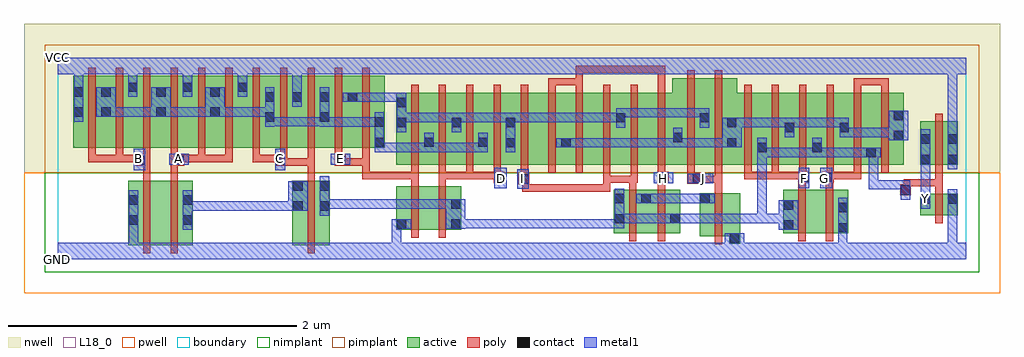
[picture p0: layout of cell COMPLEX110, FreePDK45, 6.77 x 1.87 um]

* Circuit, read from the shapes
.subckt COMPLEX110 A B C D E F G GND H I J VCC Y
M1 n1 B GND VSUBS nfet w=0.45u l=0.05u
M2 n2 A n1 VSUBS nfet w=0.45u l=0.05u
M3 n3 C n2 VSUBS nfet w=0.45u l=0.05u
M4 n4 E GND VSUBS nfet w=0.3u l=0.05u
M5 n3 D n4 VSUBS nfet w=0.3u l=0.05u
M6 n5 I n3 VSUBS nfet w=0.3u l=0.05u
M7 n3 H n5 VSUBS nfet w=0.3u l=0.05u
M8 GND J n5 VSUBS nfet w=0.3u l=0.05u
M9 n6 F n3 VSUBS nfet w=0.3u l=0.05u
M10 GND G n6 VSUBS nfet w=0.3u l=0.05u
M11 GND n3 Y VSUBS nfet w=0.15u l=0.05u
M12 n7 B VCC n8 pfet w=0.5u l=0.05u m=3
M13 VCC A n7 n8 pfet w=0.5u l=0.05u m=3
M14 n7 C VCC n8 pfet w=0.5u l=0.05u m=3
M15 n9 E n7 n8 pfet w=0.5u l=0.05u m=3
M16 n9 D n7 n8 pfet w=0.5u l=0.05u m=3
M17 n10 I n9 n8 pfet w=0.5u l=0.05u
M18 n11 H n10 n8 pfet w=0.5u l=0.05u
M19 n12 H n11 n8 pfet w=0.5u l=0.05u
M20 n9 I n12 n8 pfet w=0.5u l=0.05u
M21 n13 I n9 n8 pfet w=0.5u l=0.05u
M22 n11 H n13 n8 pfet w=0.5u l=0.05u
M23 n9 J n11 n8 pfet w=0.6u l=0.05u m=2
M24 n3 F n11 n8 pfet w=0.5u l=0.05u m=3
M25 n11 G n3 n8 pfet w=0.5u l=0.05u m=3
M26 VCC n3 Y n8 pfet w=0.3u l=0.05u
.ends

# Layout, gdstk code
import gdstk
lib = gdstk.Library(unit=1e-6, precision=1e-09)
def R(c, l, rs):  # rectangles x0, y0, x1, y1
    for r in rs: c.add(gdstk.rectangle(r[:2], r[2:], *l))
def A(c, l, x, y, w, h, nx, ny, dx, dy):  # array of equal rectangles
    R(c, l, [(x+i*dx, y+j*dy, x+i*dx+w, y+j*dy+h) for i in range(nx) for j in range(ny)])
active = (1, 0)
pwell = (2, 0)
nwell = (3, 0)
nimplant = (4, 0)
pimplant = (5, 0)
poly = (9, 0)
contact = (10, 0)
metal1 = (11, 0)
L18_0 = (18, 0)
boundary = (235, 0)

complex110 = lib.new_cell('COMPLEX110')
A(complex110, active, 4.847, 0.657, 0.265, 0.5, 3, 1, 0.19, 0)
A(complex110, active, 0.862, 0.775, 0.265, 0.5, 5, 1, 0.19, 0)
A(complex110, active, 0.482, 0.807, 0.075, 0.468, 4, 1, 0.38, 0)
R(complex110, active, [(0.487,0.097,0.562,0.547), (0.487,0.097,0.712,0.547), (0.712,0.097,0.937,0.547), (0.862,0.097,0.937,0.547), (1.627,0.097,1.702,0.547), (1.627,0.097,1.887,0.547), (1.812,0.097,1.887,0.547), (4.657,0.11,4.732,0.46), (4.452,0.16,4.732,0.46), (3.857,0.182,4.117,0.482), (4.042,0.182,4.317,0.482), (5.032,0.182,5.257,0.482), (5.257,0.182,5.482,0.482), (5.407,0.182,5.482,0.482), (3.857,0.2,3.932,0.482), (4.242,0.2,4.317,0.482), (5.032,0.2,5.107,0.482), (2.347,0.207,2.422,0.507), (2.347,0.207,2.572,0.507), (2.572,0.207,2.797,0.507), (2.722,0.207,2.797,0.507), (4.042,0.247,4.117,0.46), (4.452,0.247,4.527,0.46), (5.982,0.307,6.057,0.457), (5.982,0.307,6.242,0.457), (6.167,0.307,6.242,0.457), (2.347,0.657,2.422,1.157), (2.347,0.657,2.612,1.157), (2.537,0.657,2.802,1.157), (2.537,0.657,2.612,1.07), (2.727,0.657,2.987,1.157), (2.912,0.657,3.177,1.157), (3.102,0.657,3.332,1.157), (3.332,0.657,3.562,1.157), (3.487,0.657,3.712,1.157), (3.712,0.657,3.942,1.157), (3.867,0.657,4.092,1.157), (4.092,0.657,4.337,1.157), (4.262,0.657,4.522,1.257), (4.447,0.657,4.712,1.257), (4.637,0.657,4.922,1.157), (4.637,0.657,4.712,1.2), (4.847,0.657,4.922,1.07), (5.417,0.657,5.677,1.157), (5.602,0.657,5.867,1.157), (5.602,0.657,5.677,1.07), (5.792,0.657,5.867,1.157), (5.982,0.657,6.057,0.957), (5.982,0.657,6.242,0.957), (6.167,0.657,6.242,0.957), (2.912,0.66,2.987,1.07), (3.102,0.66,3.177,1.157), (3.487,0.66,3.562,1.07), (5.227,0.66,5.302,1.07), (3.867,0.675,3.942,1.157), (4.447,0.707,4.522,1.2), (2.727,0.762,2.802,1.157), (4.262,0.762,4.337,1.07), (5.037,0.762,5.112,1.157), (0.107,0.775,0.182,1.275), (0.107,0.775,0.372,1.275), (0.297,0.775,0.557,1.275), (0.482,0.775,0.752,1.275), (0.677,0.775,0.937,1.275), (1.432,0.775,1.507,1.2), (1.812,0.775,2.082,1.275), (2.007,0.775,2.267,1.275), (2.192,0.775,2.267,1.07), (0.297,0.807,0.372,1.2), (0.677,0.807,0.752,1.2), (1.052,0.807,1.127,1.2), (1.812,0.807,1.887,1.2), (2.007,0.807,2.082,1.2), (5.417,0.807,5.492,1.157)])
R(complex110, pwell, [(-0.235,-0.235,6.535,0.602)])
R(complex110, nwell, [(-0.235,0.602,6.535,1.635)])
R(complex110, nimplant, [(-0.09,-0.09,6.39,0.602)])
R(complex110, pimplant, [(-0.09,0.602,6.39,1.49)])
A(complex110, poly, 2.452, 0.557, 0.05, 0.095, 4, 1, 0.19, 0)
A(complex110, poly, 2.642, 0.557, 0.05, 0.05, 3, 1, 0.19, 0)
A(complex110, poly, 4.762, 0.557, 0.05, 0.095, 5, 1, 0.19, 0)
A(complex110, poly, 2.452, 0.602, 0.05, 0.61, 10, 1, 0.19, 0)
A(complex110, poly, 4.762, 0.602, 0.05, 0.61, 6, 1, 0.19, 0)
A(complex110, poly, 0.212, 0.675, 0.05, 0.095, 8, 1, 0.19, 0)
A(complex110, poly, 0.212, 0.72, 0.05, 0.61, 11, 1, 0.19, 0)
R(complex110, poly, [(0.592,0.042,0.642,0.602), (0.782,0.042,0.832,0.602), (1.732,0.042,1.782,0.602), (4.557,0.105,4.607,0.515), (3.962,0.127,4.012,0.537), (4.162,0.127,4.212,0.537), (5.137,0.127,5.187,0.537), (5.327,0.127,5.377,0.537), (2.452,0.152,2.502,0.562), (2.642,0.152,2.692,0.562), (6.087,0.252,6.137,0.512), (5.842,0.445,5.917,0.52), (6.087,0.462,6.137,0.557), (4.557,0.465,4.607,0.582), (3.22,0.47,3.402,0.52), (3.22,0.47,3.27,0.57), (3.352,0.47,3.402,0.52), (3.352,0.47,3.402,0.52), (3.352,0.47,3.402,0.52), (3.352,0.47,3.7,0.52), (3.65,0.47,3.7,0.52), (3.65,0.47,3.832,0.52), (3.782,0.47,3.832,0.582), (5.867,0.47,5.917,0.52), (5.867,0.47,5.917,0.557), (3.962,0.487,4.012,0.582), (4.162,0.487,4.212,0.582), (5.137,0.487,5.187,0.582), (5.327,0.487,5.377,0.582), (5.867,0.507,6.137,0.557), (6.087,0.507,6.137,0.652), (6.087,0.507,6.137,0.557), (6.087,0.507,6.137,0.557), (6.087,0.507,6.137,0.557), (2.452,0.512,2.502,0.607), (2.642,0.512,2.692,0.607), (3.195,0.52,3.27,0.595), (3.22,0.52,3.27,0.57), (4.367,0.525,4.475,0.6), (3.022,0.532,3.097,0.607), (3.782,0.532,3.832,0.582), (3.782,0.532,3.832,0.582), (3.782,0.532,3.832,0.652), (3.782,0.532,4.012,0.582), (3.962,0.532,4.012,0.582), (3.962,0.532,4.012,0.582), (3.962,0.532,4.022,0.582), (3.972,0.532,4.022,0.652), (4.162,0.532,4.237,0.607), (4.425,0.532,4.607,0.582), (4.557,0.532,4.607,0.582), (4.557,0.532,4.607,0.582), (4.557,0.532,4.607,0.582), (4.557,0.532,4.607,0.652), (5.135,0.532,5.21,0.607), (5.3,0.532,5.382,0.607), (3.212,0.545,3.262,0.652), (4.367,0.55,4.417,0.652), (0.592,0.552,0.642,0.7), (0.782,0.552,0.832,0.7), (1.732,0.552,1.782,0.7), (2.112,0.557,2.162,0.607), (2.112,0.557,2.162,0.607), (2.112,0.557,2.502,0.607), (2.112,0.557,2.162,0.7), (2.452,0.557,2.502,0.607), (2.452,0.557,2.502,0.607), (2.452,0.557,2.502,0.607), (2.642,0.557,2.692,0.607), (2.642,0.557,2.692,0.607), (2.642,0.557,2.882,0.607), (2.832,0.557,3.072,0.607), (3.022,0.557,3.072,0.607), (4.162,0.557,4.212,0.652), (4.762,0.557,4.812,0.607), (4.762,0.557,4.812,0.607), (4.762,0.557,4.812,0.607), (4.762,0.557,5.002,0.607), (4.952,0.557,5.002,0.607), (4.952,0.557,5.002,0.607), (4.952,0.557,5.002,0.607), (4.952,0.557,5.185,0.607), (5.332,0.557,5.572,0.607), (5.522,0.557,5.572,0.607), (5.522,0.557,5.572,0.607), (5.522,0.557,5.572,0.607), (4.367,0.602,4.417,1.312), (4.557,0.602,4.607,1.312), (6.087,0.602,6.137,1.012), (0.535,0.65,0.642,0.725), (0.782,0.65,0.877,0.725), (1.507,0.65,1.592,0.725), (1.542,0.65,1.782,0.7), (1.732,0.65,1.782,0.7), (1.732,0.65,1.782,0.7), (1.732,0.65,1.782,0.7), (1.732,0.65,1.782,0.77), (1.922,0.65,1.997,0.725), (1.947,0.65,1.997,0.7), (1.947,0.65,1.997,0.7), (1.947,0.65,2.162,0.7), (2.112,0.65,2.162,0.77), (0.212,0.675,0.262,0.725), (0.212,0.675,0.262,0.725), (0.212,0.675,0.262,0.725), (0.212,0.675,0.452,0.725), (0.402,0.675,0.452,0.725), (0.402,0.675,0.585,0.725), (0.535,0.675,0.585,0.725), (0.535,0.675,0.585,0.725), (0.827,0.675,0.877,0.725), (0.827,0.675,0.877,0.725), (0.827,0.675,1.022,0.725), (0.972,0.675,1.022,0.725), (0.972,0.675,1.212,0.725), (1.162,0.675,1.212,0.725), (1.162,0.675,1.212,0.725), (1.162,0.675,1.212,0.725), (1.352,0.675,1.402,0.725), (1.352,0.675,1.402,0.725), (1.352,0.675,1.402,0.725), (1.352,0.675,1.557,0.725), (1.922,0.675,1.972,0.77), (3.402,1.162,3.452,1.257), (3.592,1.162,3.642,1.257), (4.162,1.162,4.212,1.345), (5.522,1.162,5.572,1.257), (5.712,1.162,5.762,1.257), (3.402,1.207,3.452,1.257), (3.402,1.207,3.452,1.257), (3.402,1.207,3.452,1.257), (3.402,1.207,3.642,1.257), (3.592,1.207,3.642,1.345), (5.522,1.207,5.572,1.257), (5.522,1.207,5.762,1.257), (5.712,1.207,5.762,1.257), (5.712,1.207,5.762,1.257), (5.712,1.207,5.762,1.257), (3.592,1.295,3.642,1.345), (3.592,1.295,3.642,1.345), (3.592,1.295,3.832,1.345), (3.782,1.295,3.832,1.345), (3.782,1.295,3.965,1.345), (3.915,1.295,3.965,1.345), (3.915,1.295,3.965,1.345), (3.915,1.295,3.965,1.345), (3.915,1.295,4.212,1.345), (4.162,1.295,4.212,1.345), (4.162,1.295,4.212,1.345), (4.162,1.295,4.212,1.345)])
A(complex110, contact, 1.437, 1.095, 0.065, 0.065, 3, 1, 0.19, 0)
A(complex110, contact, 0.487, 1.162, 0.065, 0.065, 3, 1, 0.38, 0)
R(complex110, contact, [(4.662,0.115,4.727,0.18), (5.412,0.187,5.477,0.252), (5.037,0.205,5.102,0.27), (2.352,0.212,2.417,0.277), (2.727,0.212,2.792,0.277), (0.492,0.24,0.557,0.305), (0.867,0.24,0.932,0.305), (3.862,0.25,3.927,0.315), (4.247,0.252,4.312,0.317), (5.412,0.327,5.477,0.392), (1.632,0.337,1.697,0.402), (1.817,0.337,1.882,0.402), (5.037,0.345,5.102,0.41), (2.727,0.352,2.792,0.417), (0.492,0.38,0.557,0.445), (0.867,0.38,0.932,0.445), (5.987,0.387,6.052,0.452), (6.172,0.387,6.237,0.452), (3.862,0.39,3.927,0.455), (4.047,0.39,4.112,0.455), (4.457,0.39,4.522,0.455), (5.847,0.45,5.912,0.515), (1.632,0.477,1.697,0.542), (1.817,0.477,1.882,0.542), (3.2,0.525,3.265,0.59), (4.405,0.53,4.47,0.595), (3.027,0.537,3.092,0.602), (4.167,0.537,4.232,0.602), (5.14,0.537,5.205,0.602), (5.305,0.537,5.37,0.602), (0.54,0.655,0.605,0.72), (0.807,0.655,0.872,0.72), (1.512,0.655,1.577,0.72), (1.927,0.655,1.992,0.72), (5.987,0.662,6.052,0.727), (6.172,0.662,6.237,0.727), (5.607,0.71,5.672,0.775), (4.852,0.745,4.917,0.81), (5.232,0.745,5.297,0.81), (3.107,0.777,3.172,0.842), (3.492,0.777,3.557,0.842), (4.642,0.777,4.707,0.842), (2.197,0.78,2.262,0.845), (2.542,0.78,2.607,0.845), (2.917,0.78,2.982,0.845), (5.987,0.802,6.052,0.867), (6.172,0.802,6.237,0.867), (4.267,0.812,4.332,0.877), (5.797,0.827,5.862,0.892), (5.042,0.882,5.107,0.947), (5.422,0.882,5.487,0.947), (2.352,0.917,2.417,0.982), (2.732,0.917,2.797,0.982), (3.107,0.917,3.172,0.982), (4.642,0.917,4.707,0.982), (2.197,0.92,2.262,0.985), (3.872,0.95,3.937,1.015), (4.452,0.95,4.517,1.015), (1.437,0.955,1.502,1.02), (1.817,0.955,1.882,1.02), (5.797,0.967,5.862,1.032), (0.112,0.99,0.177,1.055), (0.302,0.99,0.367,1.055), (0.682,0.99,0.747,1.055), (1.057,0.99,1.122,1.055), (2.352,1.057,2.417,1.122), (2.012,1.092,2.077,1.157), (0.112,1.13,0.177,1.195), (0.302,1.13,0.367,1.195), (0.682,1.13,0.747,1.195), (1.057,1.13,1.122,1.195)])
A(complex110, metal1, 0.487, 1.127, 0.065, 0.135, 3, 1, 0.38, 0)
A(complex110, metal1, 0.487, 1.197, 0.065, 0.153, 3, 1, 0.38, 0)
R(complex110, metal1, [(0,0,6.3,0.115), (0.492,0.05,0.557,0.27), (2.317,0.05,2.382,0.115), (2.317,0.05,2.382,0.115), (2.317,0.05,2.382,0.277), (4.697,0.05,4.762,0.115), (4.697,0.05,4.762,0.115), (4.697,0.05,4.762,0.18), (5.412,0.05,5.477,0.115), (5.412,0.05,5.477,0.115), (5.412,0.05,5.477,0.217), (6.172,0.05,6.237,0.115), (6.172,0.05,6.237,0.115), (6.172,0.05,6.237,0.417), (4.627,0.115,4.762,0.18), (5.412,0.152,5.477,0.427), (0.492,0.205,0.557,0.48), (0.867,0.205,0.932,0.48), (5.002,0.205,5.137,0.41), (2.317,0.212,2.452,0.277), (2.692,0.212,2.827,0.417), (2.762,0.215,2.827,0.28), (2.762,0.215,2.827,0.28), (2.762,0.215,2.965,0.28), (2.9,0.215,2.965,0.28), (2.9,0.215,3.115,0.28), (3.05,0.215,3.115,0.28), (3.05,0.215,3.115,0.28), (3.05,0.215,3.115,0.28), (3.05,0.215,3.31,0.28), (3.245,0.215,3.31,0.28), (3.245,0.215,3.31,0.28), (3.245,0.215,3.31,0.28), (3.245,0.215,3.455,0.28), (3.39,0.215,3.455,0.28), (3.39,0.215,3.455,0.28), (3.39,0.215,3.455,0.28), (3.39,0.215,3.592,0.28), (3.527,0.215,3.592,0.28), (3.527,0.215,3.73,0.28), (3.665,0.215,3.73,0.28), (3.665,0.215,3.73,0.28), (3.665,0.215,3.73,0.28), (3.665,0.215,3.927,0.28), (3.862,0.215,3.927,0.49), (3.862,0.252,3.927,0.317), (3.862,0.252,3.927,0.317), (3.862,0.252,4.14,0.317), (4.075,0.252,4.14,0.317), (4.075,0.252,4.14,0.317), (4.075,0.252,4.14,0.317), (4.075,0.252,4.277,0.317), (4.212,0.252,4.347,0.317), (4.282,0.252,4.347,0.317), (4.282,0.252,4.347,0.317), (4.282,0.252,4.51,0.317), (4.445,0.252,4.51,0.317), (4.445,0.252,4.51,0.317), (4.445,0.252,4.51,0.317), (4.445,0.252,4.75,0.317), (4.685,0.252,4.75,0.317), (4.685,0.252,4.917,0.317), (4.852,0.252,4.917,0.317), (4.852,0.252,4.917,0.317), (4.852,0.252,4.917,0.317), (4.852,0.252,5.067,0.317), (4.852,0.252,4.917,0.637), (5.002,0.252,5.067,0.317), (5.002,0.252,5.067,0.317), (1.817,0.302,1.882,0.577), (0.867,0.337,1.157,0.402), (1.092,0.337,1.157,0.402), (1.092,0.337,1.157,0.402), (1.092,0.337,1.157,0.402), (1.092,0.337,1.295,0.402), (1.23,0.337,1.295,0.402), (1.23,0.337,1.295,0.402), (1.23,0.337,1.295,0.402), (1.23,0.337,1.435,0.402), (1.37,0.337,1.435,0.402), (1.37,0.337,1.435,0.402), (1.37,0.337,1.435,0.402), (1.37,0.337,1.607,0.402), (1.542,0.337,1.607,0.402), (1.542,0.337,1.662,0.402), (1.597,0.337,1.732,0.542), (1.817,0.352,1.882,0.417), (1.817,0.352,1.882,0.417), (1.817,0.352,2.02,0.417), (1.955,0.352,2.02,0.417), (1.955,0.352,2.02,0.417), (1.955,0.352,2.02,0.417), (1.955,0.352,2.25,0.417), (2.185,0.352,2.25,0.417), (2.185,0.352,2.47,0.417), (2.405,0.352,2.47,0.417), (2.405,0.352,2.47,0.417), (2.405,0.352,2.47,0.417), (2.405,0.352,2.607,0.417), (2.542,0.352,2.607,0.417), (2.542,0.352,2.607,0.417), (2.542,0.352,2.607,0.417), (2.542,0.352,2.757,0.417), (5.987,0.352,6.052,0.487), (6.172,0.352,6.237,0.417), (6.172,0.352,6.237,0.417), (6.172,0.352,6.237,0.487), (4.012,0.39,4.147,0.455), (4.082,0.39,4.147,0.455), (4.082,0.39,4.147,0.455), (4.082,0.39,4.285,0.455), (4.22,0.39,4.285,0.455), (4.22,0.39,4.285,0.455), (4.22,0.39,4.285,0.455), (4.22,0.39,4.487,0.455), (4.422,0.39,4.557,0.455), (5.847,0.415,5.912,0.55), (5.987,0.422,6.052,0.692), (5.625,0.485,5.69,0.55), (5.625,0.485,5.912,0.55), (5.625,0.485,5.69,0.775), (3.187,0.49,3.265,0.627), (3.027,0.492,3.112,0.637), (5.14,0.492,5.212,0.637), (5.287,0.492,5.37,0.637), (4.132,0.527,4.267,0.605), (4.37,0.527,4.547,0.595), (4.852,0.572,4.917,0.637), (4.852,0.572,4.917,0.775), (0.527,0.62,0.605,0.767), (1.507,0.62,1.577,0.767), (5.987,0.627,6.052,0.692), (5.987,0.627,6.052,0.692), (5.987,0.627,6.052,0.692), (5.987,0.627,6.052,0.692), (5.987,0.627,6.052,0.902), (6.172,0.627,6.237,0.902), (0.772,0.655,0.907,0.732), (1.892,0.655,2.027,0.732), (4.852,0.71,4.917,0.775), (4.852,0.71,4.917,0.775), (4.852,0.71,4.917,0.845), (4.852,0.71,5.055,0.775), (4.99,0.71,5.055,0.775), (4.99,0.71,5.055,0.775), (4.99,0.71,5.055,0.775), (4.99,0.71,5.205,0.775), (5.14,0.71,5.205,0.775), (5.14,0.71,5.297,0.775), (5.232,0.71,5.297,0.845), (5.232,0.71,5.5,0.775), (5.435,0.71,5.5,0.775), (5.435,0.71,5.5,0.775), (5.435,0.71,5.5,0.775), (5.435,0.71,5.637,0.775), (5.572,0.71,5.637,0.775), (5.572,0.71,5.637,0.775), (5.572,0.71,5.707,0.775), (3.107,0.742,3.172,1.017), (2.197,0.745,2.262,1.02), (2.197,0.745,2.4,0.81), (2.335,0.745,2.4,0.81), (2.335,0.745,2.4,0.81), (2.335,0.745,2.4,0.81), (2.335,0.745,2.607,0.81), (2.542,0.745,2.607,0.81), (2.542,0.745,2.607,0.81), (2.542,0.745,2.607,0.88), (2.542,0.745,2.827,0.81), (2.762,0.745,2.827,0.81), (2.762,0.745,2.827,0.81), (2.762,0.745,2.827,0.81), (2.762,0.745,2.982,0.81), (2.917,0.745,2.982,0.88), (3.457,0.777,3.592,0.842), (3.527,0.777,3.592,0.842), (3.527,0.777,3.592,0.842), (3.527,0.777,3.79,0.842), (3.725,0.777,3.79,0.842), (3.725,0.777,3.79,0.842), (3.725,0.777,3.79,0.842), (3.725,0.777,3.927,0.842), (3.862,0.777,3.927,0.842), (3.862,0.777,3.927,0.842), (3.862,0.777,3.927,0.842), (3.862,0.777,4.14,0.842), (4.075,0.777,4.14,0.842), (4.075,0.777,4.14,0.842), (4.075,0.777,4.14,0.842), (4.075,0.777,4.332,0.842), (4.267,0.777,4.332,0.842), (4.267,0.777,4.332,0.842), (4.267,0.777,4.332,0.912), (4.267,0.777,4.535,0.842), (4.47,0.777,4.535,0.842), (4.47,0.777,4.535,0.842), (4.47,0.777,4.535,0.842), (4.47,0.777,4.672,0.842), (4.607,0.777,4.742,0.982), (5.762,0.827,5.897,1.032), (6.172,0.837,6.237,1.35), (5.042,0.847,5.107,0.982), (5.422,0.847,5.487,0.982), (5.422,0.847,5.637,0.912), (5.572,0.847,5.637,0.912), (5.572,0.847,5.637,0.912), (5.572,0.847,5.637,0.912), (5.572,0.847,5.827,0.912), (5.762,0.847,5.827,0.912), (5.762,0.847,5.827,0.912), (2.352,0.882,2.417,1.157), (2.732,0.882,2.797,1.017), (3.872,0.915,3.937,1.05), (4.452,0.915,4.517,1.05), (4.677,0.917,4.887,0.982), (4.822,0.917,4.887,0.982), (4.822,0.917,4.887,0.982), (4.822,0.917,4.887,0.982), (4.822,0.917,5.055,0.982), (4.99,0.917,5.055,0.982), (4.99,0.917,5.107,0.982), (5.042,0.917,5.205,0.982), (5.14,0.917,5.205,0.982), (5.14,0.917,5.34,0.982), (5.275,0.917,5.34,0.982), (5.275,0.917,5.487,0.982), (5.422,0.917,5.487,0.982), (5.422,0.917,5.487,0.982), (1.437,0.92,1.502,1.195), (1.817,0.92,1.882,0.985), (1.817,0.92,1.882,0.985), (1.817,0.92,1.882,1.195), (1.817,0.92,2.112,0.985), (2.047,0.92,2.112,0.985), (2.047,0.92,2.112,0.985), (2.047,0.92,2.112,0.985), (2.047,0.92,2.262,0.985), (1.437,0.922,1.607,0.987), (1.542,0.922,1.607,0.987), (1.542,0.922,1.745,0.987), (1.68,0.922,1.745,0.987), (1.68,0.922,1.745,0.987), (1.68,0.922,1.745,0.987), (1.68,0.922,1.882,0.987), (2.352,0.952,2.417,1.017), (2.352,0.952,2.417,1.017), (2.352,0.952,2.607,1.017), (2.542,0.952,2.607,1.017), (2.542,0.952,2.607,1.017), (2.542,0.952,2.607,1.017), (2.542,0.952,2.797,1.017), (2.732,0.952,2.797,1.017), (2.732,0.952,2.797,1.017), (2.732,0.952,2.977,1.017), (2.912,0.952,2.977,1.017), (2.912,0.952,2.977,1.017), (2.912,0.952,2.977,1.017), (2.912,0.952,3.172,1.017), (3.107,0.952,3.31,1.017), (3.245,0.952,3.31,1.017), (3.245,0.952,3.31,1.017), (3.245,0.952,3.31,1.017), (3.245,0.952,3.447,1.017), (3.382,0.952,3.447,1.017), (3.382,0.952,3.447,1.017), (3.382,0.952,3.447,1.017), (3.382,0.952,3.592,1.017), (3.527,0.952,3.592,1.017), (3.527,0.952,3.73,1.017), (3.665,0.952,3.73,1.017), (3.665,0.952,3.73,1.017), (3.665,0.952,3.73,1.017), (3.665,0.952,3.937,1.017), (0.112,0.955,0.177,1.23), (3.872,0.985,3.937,1.05), (3.872,0.985,3.937,1.05), (3.872,0.985,4.14,1.05), (4.075,0.985,4.14,1.05), (4.075,0.985,4.14,1.05), (4.075,0.985,4.14,1.05), (4.075,0.985,4.35,1.05), (4.285,0.985,4.35,1.05), (4.285,0.985,4.35,1.05), (4.285,0.985,4.35,1.05), (4.285,0.985,4.517,1.05), (0.267,0.99,0.402,1.195), (0.337,0.99,0.402,1.055), (0.337,0.99,0.402,1.055), (0.337,0.99,0.575,1.055), (0.51,0.99,0.575,1.055), (0.51,0.99,0.575,1.055), (0.51,0.99,0.575,1.055), (0.51,0.99,0.712,1.055), (0.647,0.99,0.782,1.195), (0.717,0.99,0.92,1.055), (0.855,0.99,0.92,1.055), (0.855,0.99,0.92,1.055), (0.855,0.99,0.92,1.055), (0.855,0.99,1.087,1.055), (1.022,0.99,1.087,1.055), (1.022,0.99,1.087,1.055), (1.022,0.99,1.157,1.195), (1.092,0.99,1.297,1.055), (1.232,0.99,1.297,1.055), (1.232,0.99,1.297,1.055), (1.232,0.99,1.297,1.055), (1.232,0.99,1.435,1.055), (1.37,0.99,1.435,1.055), (1.37,0.99,1.502,1.055), (1.627,1.06,1.692,1.195), (1.977,1.092,2.112,1.157), (2.047,1.092,2.112,1.157), (2.047,1.092,2.112,1.157), (2.047,1.092,2.262,1.157), (2.197,1.092,2.262,1.157), (2.197,1.092,2.417,1.157), (1.627,1.13,1.692,1.35), (0.112,1.165,0.177,1.35), (0.487,1.197,0.552,1.262), (0.487,1.197,0.552,1.262), (0.867,1.197,0.932,1.262), (0.867,1.197,0.932,1.262), (1.247,1.197,1.312,1.262), (1.247,1.197,1.312,1.262), (0,1.285,6.3,1.4), (0.112,1.285,0.177,1.35), (0.112,1.285,0.177,1.35), (1.627,1.285,1.692,1.35), (1.627,1.285,1.692,1.35), (6.172,1.285,6.237,1.35), (6.172,1.285,6.237,1.35), (6.172,1.285,6.237,1.35), (6.172,1.285,6.237,1.35)])
A(complex110, L18_0, 0.487, 1.127, 0.065, 0.135, 3, 1, 0.38, 0)
A(complex110, L18_0, 0.487, 1.197, 0.065, 0.153, 3, 1, 0.38, 0)
R(complex110, L18_0, [(0,0,6.3,0.115), (0.492,0.05,0.557,0.27), (2.317,0.05,2.382,0.115), (2.317,0.05,2.382,0.115), (2.317,0.05,2.382,0.277), (4.697,0.05,4.762,0.115), (4.697,0.05,4.762,0.115), (4.697,0.05,4.762,0.18), (5.412,0.05,5.477,0.115), (5.412,0.05,5.477,0.115), (5.412,0.05,5.477,0.217), (6.172,0.05,6.237,0.115), (6.172,0.05,6.237,0.115), (6.172,0.05,6.237,0.417), (4.627,0.115,4.762,0.18), (5.412,0.152,5.477,0.427), (0.492,0.205,0.557,0.48), (2.317,0.212,2.452,0.277), (5.987,0.352,6.052,0.487), (6.172,0.352,6.237,0.417), (6.172,0.352,6.237,0.417), (6.172,0.352,6.237,0.487), (5.987,0.387,6.052,0.452), (5.987,0.422,6.052,0.692), (3.187,0.49,3.265,0.627), (3.027,0.492,3.112,0.637), (5.14,0.492,5.212,0.637), (5.287,0.492,5.37,0.637), (3.047,0.527,3.112,0.592), (3.187,0.527,3.252,0.592), (4.132,0.527,4.267,0.605), (4.167,0.527,4.232,0.592), (4.37,0.527,4.547,0.595), (4.447,0.527,4.512,0.592), (5.147,0.527,5.212,0.592), (5.287,0.527,5.352,0.592), (0.527,0.62,0.605,0.767), (1.507,0.62,1.577,0.767), (5.987,0.627,6.052,0.902), (5.987,0.627,6.052,0.692), (5.987,0.627,6.052,0.692), (5.987,0.627,6.052,0.692), (5.987,0.627,6.052,0.692), (6.172,0.627,6.237,0.902), (0.772,0.655,0.907,0.732), (1.892,0.655,2.027,0.732), (0.527,0.667,0.592,0.732), (0.807,0.667,0.872,0.732), (1.507,0.667,1.572,0.732), (1.927,0.667,1.992,0.732), (6.172,0.837,6.237,1.35), (0.112,0.955,0.177,1.23), (1.627,1.06,1.692,1.195), (1.627,1.13,1.692,1.35), (0.112,1.165,0.177,1.35), (0.487,1.197,0.552,1.262), (0.487,1.197,0.552,1.262), (0.867,1.197,0.932,1.262), (0.867,1.197,0.932,1.262), (1.247,1.197,1.312,1.262), (1.247,1.197,1.312,1.262), (0,1.285,6.3,1.4), (0.112,1.285,0.177,1.35), (0.112,1.285,0.177,1.35), (1.627,1.285,1.692,1.35), (1.627,1.285,1.692,1.35), (6.172,1.285,6.237,1.35), (6.172,1.285,6.237,1.35), (6.172,1.285,6.237,1.35), (6.172,1.285,6.237,1.35)])
R(complex110, boundary, [(0,0,6.3,1.4)])
complex110.add(gdstk.Label('A', (0.84,0.7), layer=11, texttype=0))
complex110.add(gdstk.Label('B', (0.56,0.7), layer=11, texttype=0))
complex110.add(gdstk.Label('C', (1.54,0.7), layer=11, texttype=0))
complex110.add(gdstk.Label('D', (3.08,0.56), layer=11, texttype=0))
complex110.add(gdstk.Label('E', (1.96,0.7), layer=11, texttype=0))
complex110.add(gdstk.Label('F', (5.18,0.56), layer=11, texttype=0))
complex110.add(gdstk.Label('G', (5.32,0.56), layer=11, texttype=0))
complex110.add(gdstk.Label('H', (4.2,0.56), layer=11, texttype=0))
complex110.add(gdstk.Label('I', (3.22,0.56), layer=11, texttype=0))
complex110.add(gdstk.Label('J', (4.48,0.56), layer=11, texttype=0))
complex110.add(gdstk.Label('Y', (6.02,0.42), layer=11, texttype=0))
complex110.add(gdstk.Label('VCC', (0,1.4), layer=11, texttype=0))
complex110.add(gdstk.Label('GND', (0,0), layer=11, texttype=0))

lib.write_gds('COMPLEX110.gds')
